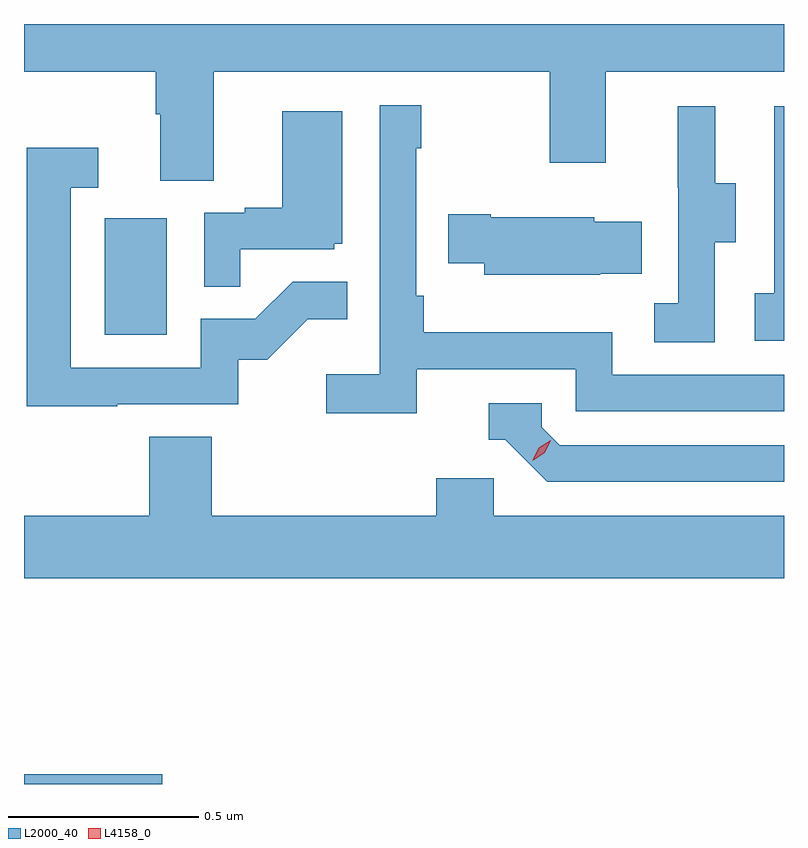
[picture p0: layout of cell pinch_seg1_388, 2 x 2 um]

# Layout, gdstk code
import gdstk
lib = gdstk.Library(unit=1e-6, precision=1e-09)
def R(c, l, rs):  # rectangles x0, y0, x1, y1
    for r in rs: c.add(gdstk.rectangle(r[:2], r[2:], *l))
def P(c, l, *ps):  # polygons
    for p in ps: c.add(gdstk.Polygon(p, *l))
L2000_40 = (2000, 40)
L4158_0 = (4158, 0)

pinch_seg1_388 = lib.new_cell('pinch_seg1_388')
R(pinch_seg1_388, L2000_40, [(971.19,532.542,971.554,532.568), (971.402,533.724,971.566,534.031)])
P(pinch_seg1_388, L2000_40, [(971.689,534.416),(972.574,534.416),(972.574,534.177),(972.721,534.177),(972.721,534.416),(973.19,534.416),(973.19,534.542),(971.19,534.542),(971.19,534.416),(971.537,534.416),(971.537,534.304),(971.549,534.304),(971.549,534.13),(971.689,534.13)],
  [(972.224,533.634),(972.642,533.634),(972.642,533.523),(973.19,533.523),(973.19,533.619),(972.738,533.619),(972.738,533.731),(972.242,533.731),(972.242,533.827),(972.222,533.827),(972.222,534.215),(972.235,534.215),(972.235,534.328),(972.126,534.328),(972.126,533.62),(971.985,533.62),(971.985,533.518),(972.224,533.518)],
  [(973.008,533.968),(973.063,533.968),(973.063,534.123),(973.009,534.123),(973.009,534.325),(972.911,534.325),(972.911,534.111),(972.912,534.111),(972.912,533.807),(972.849,533.807),(972.849,533.704),(973.008,533.704)],
  [(973.19,534.325),(973.164,534.325),(973.164,533.834),(973.113,533.834),(973.113,533.709),(973.19,533.709)],
  [(971.759,533.949),(972.006,533.949),(972.006,533.964),(972.028,533.964),(972.028,534.313),(971.87,534.313),(971.87,534.058),(971.771,534.058),(971.771,534.045),(971.664,534.045),(971.664,533.851),(971.759,533.851)],
  [(971.435,533.541),(971.754,533.541),(971.754,533.658),(971.83,533.658),(971.937,533.765),(972.041,533.765),(972.041,533.864),(971.897,533.864),(971.799,533.766),(971.655,533.766),(971.655,533.637),(971.313,533.637),(971.313,534.111),(971.386,534.111),(971.386,534.217),(971.197,534.217),(971.197,533.536),(971.435,533.536)],
  [(972.707,533.885),(972.815,533.885),(972.815,534.022),(972.69,534.022),(972.69,534.034),(972.418,534.034),(972.418,534.042),(972.307,534.042),(972.307,533.912),(972.401,533.912),(972.401,533.882),(972.707,533.882)],
  [(973.19,533.433),(972.6,533.433),(972.552,533.481),(972.552,533.544),(972.413,533.544),(972.413,533.448),(972.456,533.448),(972.567,533.337),(973.19,533.337)],
  [(973.19,533.248),(972.426,533.248),(972.426,533.346),(972.275,533.346),(972.275,533.248),(971.684,533.248),(971.684,533.456),(971.519,533.456),(971.519,533.248),(971.19,533.248),(971.19,533.084),(973.19,533.084)])
P(pinch_seg1_388, L4158_0, [(972.529,533.394),(972.529,533.395),(972.545,533.427),(972.576,533.447),(972.576,533.447),(972.576,533.447),(972.56,533.414),(972.53,533.394)])

lib.write_gds('pinch_seg1_388.gds')
